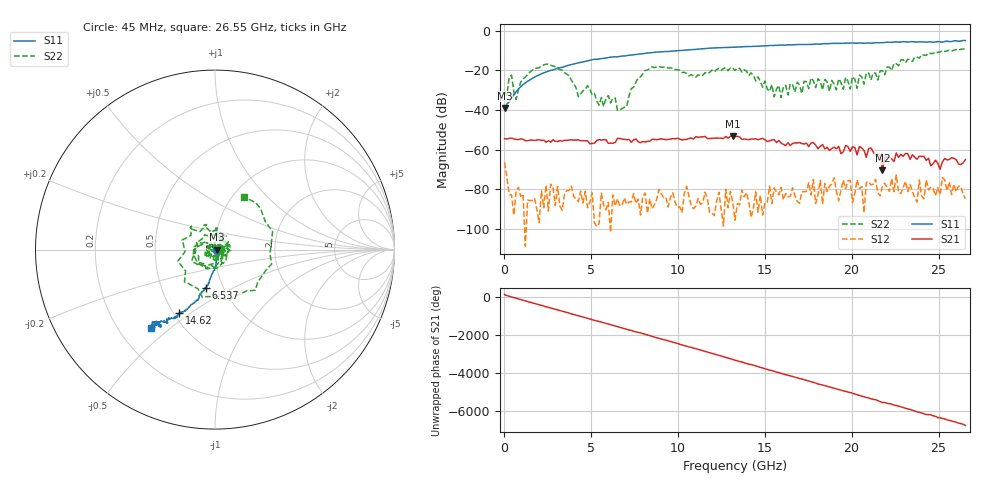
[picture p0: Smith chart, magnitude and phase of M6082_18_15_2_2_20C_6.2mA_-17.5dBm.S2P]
!  2-Port S-parameters saved by WinCal
! VAR MeasName=S-Parameters (CALIBRATED_DATA) read from VNA (C)
! VAR MeasDate=9/29/2015 3:17:41 PM
! VAR NAME=M6082_18_15_2_2_20C_6.2mA_-17.5dBm
! VAR FILENAME=M6082_18_15_2_2_20C_6.2mA_-17.5dBm.S2P
! VAR DATE=9/29/2015 3:17:41 PM
! VAR PHYS_PORTS=2,1
! VAR ObjTypeName=DATASET
! VAR IndexType=Frequency
# Hz S RI R 50
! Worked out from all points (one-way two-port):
!   201 points, 45 MHz to 26.55 GHz, reference 50 ohm
!   highest |S21| = -53.09 dB at 13.16 GHz (marker M1); lowest = -70.5 dB at 21.77 GHz (marker M2)
!   lowest |S11| = -38.9 dB at 45 MHz (marker M3), VSWR 1.02, Z = 51.1 - j0.0366 ohm
!   |S11| at or under -10 dB: start of sweep to 10.09 GHz
!   |S22| runs from -40.2 to -9.2 dB; largest |S21 - S12| = 0.0023
!   S11 on the Smith chart (normalised r, x): 45 MHz: 1.02, -0.00; 6.537 GHz: 0.83, -0.37; 14.62 GHz: 0.54, -0.45; 26.55 GHz: 0.34, -0.43
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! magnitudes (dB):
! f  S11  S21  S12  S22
! 45 MHz  -38.9  -54.5  -66.5  -30.7
! 310 MHz  -35.9  -54.3  -82.7  -23.4
! 707.5 MHz  -30.9  -54.8  -80.9  -34.7
! 1.105 GHz  -27.2  -54.8  -82.4  -24.4
! 2.562 GHz  -20.4  -55.5  -91.0  -16.8
! 4.55 GHz  -15.8  -55.5  -86.9  -30.3
! 6.405 GHz  -13.2  -56.4  -88.4  -33.9
! 6.537 GHz  -13.2  -54.3  -84.8  -40.2
! 8.922 GHz  -10.7  -54.7  -80.1  -18.0
! 13.16 GHz  -8.3  -53.1  -86.5  -18.7
! 13.29 GHz  -8.2  -53.4  -95.6  -20.1
! 14.62 GHz  -7.8  -55.0  -91.6  -23.3
! 15.95 GHz  -7.3  -56.7  -79.0  -33.8
! 17.8 GHz  -6.9  -56.5  -75.1  -25.2
! 21.11 GHz  -6.3  -59.1  -77.8  -24.9
! 21.77 GHz  -6.1  -70.5  -78.3  -20.2
! 22.17 GHz  -5.8  -64.0  -81.1  -18.4
! 22.57 GHz  -5.6  -61.7  -72.8  -16.6
! 22.7 GHz  -5.8  -64.0  -81.7  -17.7
! 25.09 GHz  -5.6  -69.9  -82.7  -10.7
! 25.22 GHz  -5.8  -66.2  -74.1  -9.9
! 26.55 GHz  -5.0  -65.0  -84.8  -9.5
